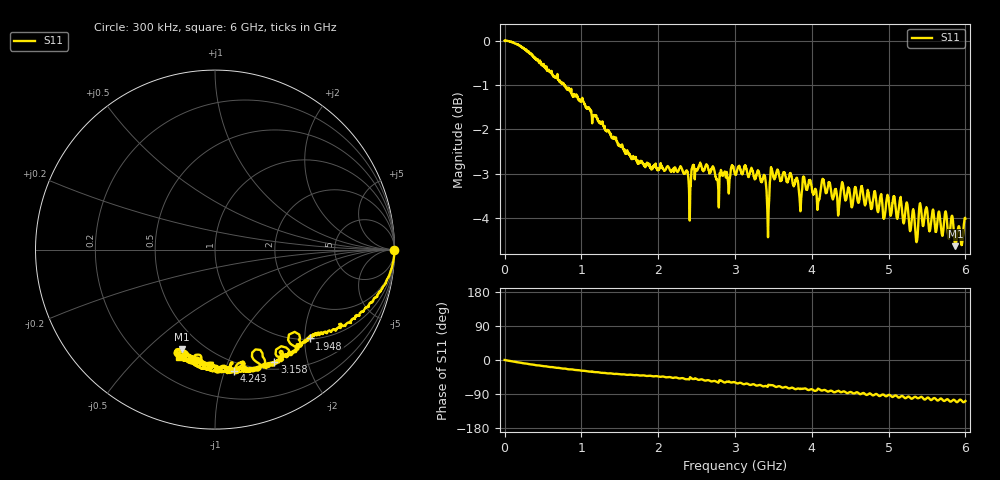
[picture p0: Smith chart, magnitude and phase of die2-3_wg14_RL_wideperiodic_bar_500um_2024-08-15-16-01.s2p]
!Keysight Technologies,P9374A,MY57304198,A.17.20.09
!Date: Thursday, August 15, 2024 16:02:03
!Correction: S11(C  1-Port  )
!S21(C  1-Port  )
!S12(Off)
!S22(Off)
!S2P File: Measurements: S11, S21, S12, S22:
# Hz S  dB  R 50
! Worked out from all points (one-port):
!   6000 points, 300 kHz to 6 GHz, reference 50 ohm
!   lowest |S11| = -4.6 dB at 5.87 GHz (marker M1), VSWR 3.84, Z = 19.1 - j32.5 ohm
!   |S11| at or under -10 dB: nowhere
!   S11 on the Smith chart (normalised r, x): 300 kHz: open; 1.948 GHz: 1.02, -2.12; 3.158 GHz: 0.59, -1.49; 4.243 GHz: 0.42, -1.08; 6 GHz: 0.34, -0.67
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300000  -0.00 -0.0  -200.00 45.0  -200.00 45.0  -200.00 45.0
4.153484e8  -0.41 -13.8  -200.00 45.0  -200.00 45.0  -200.00 45.0
1.000417e9  -1.35 -28.2  -200.00 45.0  -200.00 45.0  -200.00 45.0
1.498475e9  -2.36 -37.8  -200.00 45.0  -200.00 45.0  -200.00 45.0
1.947527e9  -2.80 -43.1  -200.00 45.0  -200.00 45.0  -200.00 45.0
2.000533e9  -2.88 -43.5  -200.00 45.0  -200.00 45.0  -200.00 45.0
2.382578e9  -2.97 -50.4  -200.00 45.0  -200.00 45.0  -200.00 45.0
2.474589e9  -3.10 -49.7  -200.00 45.0  -200.00 45.0  -200.00 45.0
2.763622e9  -3.13 -58.2  -200.00 45.0  -200.00 45.0  -200.00 45.0
2.821629e9  -2.95 -54.8  -200.00 45.0  -200.00 45.0  -200.00 45.0
3.00065e9  -3.01 -59.1  -200.00 45.0  -200.00 45.0  -200.00 45.0
3.157668e9  -2.98 -62.2  -200.00 45.0  -200.00 45.0  -200.00 45.0
3.376694e9  -3.03 -69.5  -200.00 45.0  -200.00 45.0  -200.00 45.0
3.4307e9  -4.41 -67.0  -200.00 45.0  -200.00 45.0  -200.00 45.0
3.474705e9  -2.89 -66.6  -200.00 45.0  -200.00 45.0  -200.00 45.0
3.543713e9  -2.95 -70.9  -200.00 45.0  -200.00 45.0  -200.00 45.0
4.000767e9  -3.34 -77.2  -200.00 45.0  -200.00 45.0  -200.00 45.0
4.242795e9  -3.30 -81.0  -200.00 45.0  -200.00 45.0  -200.00 45.0
5.000883e9  -3.58 -92.0  -200.00 45.0  -200.00 45.0  -200.00 45.0
5.218909e9  -3.84 -100.8  -200.00 45.0  -200.00 45.0  -200.00 45.0
5.869985e9  -4.64 -108.4  -200.00 45.0  -200.00 45.0  -200.00 45.0
6e9  -4.01 -108.2  -200.00 45.0  -200.00 45.0  -200.00 45.0
